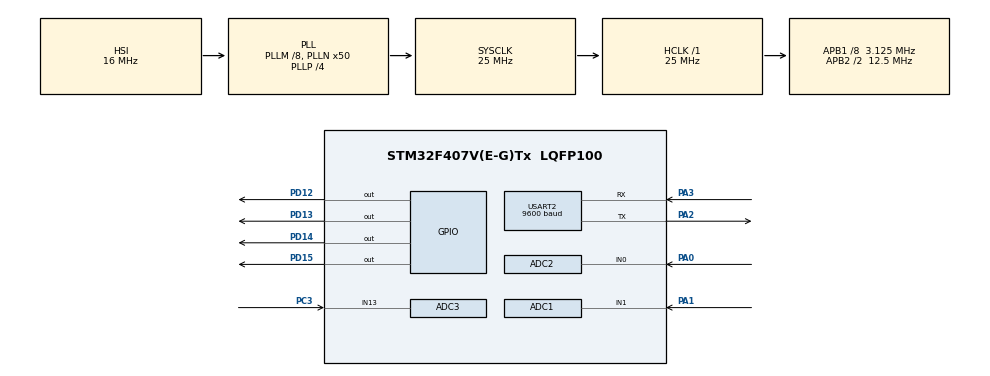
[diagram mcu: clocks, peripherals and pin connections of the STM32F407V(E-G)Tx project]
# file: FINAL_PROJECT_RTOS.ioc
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ADC1.Channel-0\#ChannelRegularConversion=ADC_CHANNEL_1
ADC1.NbrOfConversionFlag=1
ADC1.Rank-0\#ChannelRegularConversion=1
ADC1.SamplingTime-0\#ChannelRegularConversion=ADC_SAMPLETIME_3CYCLES
ADC1.master=1
ADC2.Channel-0\#ChannelRegularConversion=ADC_CHANNEL_0
ADC2.NbrOfConversionFlag=1
ADC2.Rank-0\#ChannelRegularConversion=1
ADC2.SamplingTime-0\#ChannelRegularConversion=ADC_SAMPLETIME_3CYCLES
ADC3.Channel-0\#ChannelRegularConversion=ADC_CHANNEL_13
ADC3.NbrOfConversionFlag=1
ADC3.Rank-0\#ChannelRegularConversion=1
ADC3.SamplingTime-0\#ChannelRegularConversion=ADC_SAMPLETIME_3CYCLES
FREERTOS.INCLUDE_vTaskDelayUntil=1
FREERTOS.Tasks01=defaultTask,-3,128,StartDefaultTask,Default,NULL,Dynamic,NULL,NULL
FREERTOS.configUSE_NEWLIB_REENTRANT=1
Mcu.Family=STM32F4
Mcu.Name=STM32F407V(E-G)Tx
Mcu.Package=LQFP100
NVIC.PriorityGroup=NVIC_PRIORITYGROUP_4
NVIC.TIM1_UP_TIM10_IRQn=true\:0\:0\:false\:false\:true\:false\:false\:true\:true
NVIC.TimeBase=TIM1_UP_TIM10_IRQn
NVIC.TimeBaseIP=TIM1
PA0-WKUP.Signal=ADCx_IN0
PA1.Signal=ADCx_IN1
PA2.Mode=Asynchronous
PA2.Signal=USART2_TX
PA3.Mode=Asynchronous
PA3.Signal=USART2_RX
PC3.Signal=ADCx_IN13
PD12.Signal=GPIO_Output
PD13.Signal=GPIO_Output
PD14.Signal=GPIO_Output
PD15.Signal=GPIO_Output
ProjectManager.HeapSize=0x200
ProjectManager.StackSize=0x400
ProjectManager.TargetToolchain=STM32CubeIDE
RCC.48MHZClocksFreq_Value=14285714.285714285
RCC.AHBFreq_Value=25000000
RCC.APB1CLKDivider=RCC_HCLK_DIV8
RCC.APB1Freq_Value=3125000
RCC.APB1TimFreq_Value=6250000
RCC.APB2CLKDivider=RCC_HCLK_DIV2
RCC.APB2Freq_Value=12500000
RCC.APB2TimFreq_Value=25000000
RCC.CortexFreq_Value=25000000
RCC.HCLKFreq_Value=25000000
RCC.HSE_VALUE=8000000
RCC.HSI_VALUE=16000000
RCC.LSE_VALUE=32768
RCC.PLLM=8
RCC.PLLN=50
RCC.PLLP=RCC_PLLP_DIV4
RCC.PLLQ=7
RCC.SYSCLKFreq_VALUE=25000000
RCC.SYSCLKSource=RCC_SYSCLKSOURCE_PLLCLK
RCC.VCOOutputFreq_Value=100000000
SH.ADCx_IN0.0=ADC2_IN0,IN0
SH.ADCx_IN1.0=ADC1_IN1,IN1
SH.ADCx_IN13.0=ADC3_IN13,IN13
USART2.BaudRate=9600
USART2.VirtualMode=VM_ASYNC
VP_FREERTOS_VS_CMSIS_V1.Mode=CMSIS_V1
VP_SYS_VS_tim1.Mode=TIM1
board=STM32F407G-DISC1

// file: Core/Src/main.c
/* USER CODE BEGIN Header */
/**
  ******************************************************************************
  * @file           : main.c
  * @brief          : Main program body
  ******************************************************************************
  * @attention
  *
  * Copyright (c) 2025 STMicroelectronics.
  * All rights reserved.
  *
  * This software is licensed under terms that can be found in the LICENSE file
  * in the root directory of this software component.
  * If no LICENSE file comes with this software, it is provided AS-IS.
  *
  ******************************************************************************
  */
/* USER CODE END Header */
#include "main.h"
#include "cmsis_os.h"

/* USER CODE BEGIN Includes */
#include <string.h>
#include <stdio.h>
#include <stdlib.h>
#include <math.h>
/* USER CODE END Includes */

/* USER CODE BEGIN PTD */

#define VREF        3.3f        //LDR AND TEMP
#define ADC_RES     4095.0f     // 12-bit ADC resolution
#define R_FIXED     10000.0f
#define A_LDR 44550.0f          // LDR constant A
#define B_LDR 0.676f            // LDR constant B
#define VCC 5.0f                //GAS
#define A_GAS 272.4f            // MQ-135 curve constant for CO2
#define B_GAS -2.718f           // MQ-135 curve exponent for CO2
/* USER CODE END PTD */

ADC_HandleTypeDef hadc1;
ADC_HandleTypeDef hadc2;
ADC_HandleTypeDef hadc3;

UART_HandleTypeDef huart2;

osThreadId defaultTaskHandle;
/* USER CODE BEGIN PV */
xQueueHandle xQueue;
xSemaphoreHandle xSemaphore;

typedef struct {
    char name[10];
    float value;
} SensorData_t;

/* USER CODE END PV */

void SystemClock_Config(void);
static void MX_GPIO_Init(void);
static void MX_USART2_UART_Init(void);
static void MX_ADC1_Init(void);
static void MX_ADC2_Init(void);
static void MX_ADC3_Init(void);
void StartDefaultTask(void const * argument);

/* USER CODE BEGIN PFP */

void vSendingtemp(void *pvParam)
{
    portTickType xLastWakeUpTime = xTaskGetTickCount();
    SensorData_t data;
    strcpy(data.name,"LM-35");
    while(1){
        HAL_ADC_Start(&hadc1);
        if (HAL_ADC_PollForConversion(&hadc1, 10) == HAL_OK) {

            data.value = HAL_ADC_GetValue(&hadc1);
           float voltage = (VREF * data.value) / ADC_RES;

           data.value = voltage * 100.0f;//temp in celsius
            HAL_ADC_Stop(&hadc1);

            xQueueSendToBack(xQueue, &data, pdMS_TO_TICKS(100));
            HAL_GPIO_WritePin(GPIOD, GPIO_PIN_13, GPIO_PIN_SET);
            vTaskDelay(pdMS_TO_TICKS(100));
            HAL_GPIO_WritePin(GPIOD, GPIO_PIN_13, GPIO_PIN_RESET);

        }

        vTaskDelayUntil(&xLastWakeUpTime, pdMS_TO_TICKS(4000));
    }
}

void vSendinglight(void *pvParam)
{
    portTickType xLastWakeUpTime = xTaskGetTickCount();
    SensorData_t data;
    strcpy(data.name,"LDR");

    while(1){
        HAL_ADC_Start(&hadc2);
        if (HAL_ADC_PollForConversion(&hadc2, 10) == HAL_OK) {
             data.value = (float)HAL_ADC_GetValue(&hadc2);

             float voltage = (VREF * data.value) / ADC_RES;
             if (voltage == 0) voltage = 0.001f;
             float r_ldr = R_FIXED * (VREF - voltage) / voltage;

             data.value = pow((A_LDR / r_ldr), (1.0f / B_LDR));//lux
            HAL_ADC_Stop(&hadc2);

            xQueueSendToBack(xQueue, &data, pdMS_TO_TICKS(100));

           		            HAL_GPIO_WritePin(GPIOD, GPIO_PIN_14, GPIO_PIN_SET);
           		            vTaskDelay(pdMS_TO_TICKS(100));
           		            HAL_GPIO_WritePin(GPIOD, GPIO_PIN_14, GPIO_PIN_RESET);

        }

        vTaskDelayUntil(&xLastWakeUpTime, pdMS_TO_TICKS(4000));
    }
}

void vSendinggas(void *pvParam)
{
    portTickType xLastWakeUpTime = xTaskGetTickCount();
    SensorData_t data;
    strcpy(data.name,"MQ-132");
    float R0;
    HAL_ADC_Start(&hadc3);
            if (HAL_ADC_PollForConversion(&hadc3, 10) == HAL_OK) {
                data.value = (float)HAL_ADC_GetValue(&hadc3);

                float Vout = (data.value / 4095.0f) * VCC;
                if (Vout <= 0.0f) Vout = 0.001f;
                float Rs = R_FIXED * (VCC - Vout) / Vout;
                R0=Rs/3.7f;
                HAL_ADC_Stop(&hadc3);
            }

    while(1){
        HAL_ADC_Start(&hadc3);
        if (HAL_ADC_PollForConversion(&hadc3, 10) == HAL_OK) {
            data.value = (float)HAL_ADC_GetValue(&hadc3);
            float Vout = (data.value / 4095.0f) * VCC;
            if (Vout <= 0.0f) Vout = 0.001f;

             float Rs = R_FIXED * (VCC - Vout) / Vout;
             float ratio = Rs / R0;

              data.value = A_GAS * pow(ratio, B_GAS);

            HAL_ADC_Stop(&hadc3);

                       xQueueSendToBack(xQueue, &data, pdMS_TO_TICKS(100));

           		            HAL_GPIO_WritePin(GPIOD, GPIO_PIN_15, GPIO_PIN_SET);
           		            vTaskDelay(pdMS_TO_TICKS(100));
           		            HAL_GPIO_WritePin(GPIOD, GPIO_PIN_15, GPIO_PIN_RESET);

        }

        vTaskDelayUntil(&xLastWakeUpTime, pdMS_TO_TICKS(4000));
    }
}

void vuartsend(void *pvParam)
{
    SensorData_t data;

    while(1) {
        if (xQueueReceive(xQueue, &data, portMAX_DELAY) == pdPASS) {

            if (xSemaphoreTake(xSemaphore, pdMS_TO_TICKS(100)) == pdTRUE) {
                char buffer[64];
                int len = snprintf(buffer, sizeof(buffer), "%s: %.2f\r\n", data.name, data.value);

                if (len > 0) {
                    HAL_UART_Transmit(&huart2, (uint8_t *)buffer, len, 100);
                }

                xSemaphoreGive(xSemaphore);
            }
        }
    }
}

/* USER CODE END PFP */

int main(void)
{

  /* MCU Configuration--------------------------------------------------------*/

  /* Reset of all peripherals, Initializes the Flash interface and the Systick. */
  HAL_Init();

  /* Configure the system clock */
  SystemClock_Config();

  /* Initialize all configured peripherals */
  MX_GPIO_Init();
  MX_USART2_UART_Init();
  MX_ADC1_Init();
  MX_ADC2_Init();
  MX_ADC3_Init();

  /* USER CODE BEGIN RTOS_SEMAPHORES */
  /* add semaphores, ... */
  vSemaphoreCreateBinary(xSemaphore);

  /* USER CODE END RTOS_SEMAPHORES */

  /* USER CODE BEGIN RTOS_QUEUES */
  /* add queues, ... */
  xQueue = xQueueCreate(10, sizeof(SensorData_t));

  /* USER CODE END RTOS_QUEUES */

  /* Create the thread(s) */
  /* definition and creation of defaultTask */
  osThreadDef(defaultTask, StartDefaultTask, osPriorityIdle, 0, 128);
  defaultTaskHandle = osThreadCreate(osThread(defaultTask), NULL);

  /* USER CODE BEGIN RTOS_THREADS */
  /* add threads, ... */

  xTaskCreate(vSendingtemp, "send1", 256, NULL, 3, NULL);
  xTaskCreate(vSendinglight, "send2", 256, NULL, 3, NULL);
  xTaskCreate(vSendinggas, "send3", 256, NULL, 3, NULL);
  xTaskCreate(vuartsend, "espsend",256, NULL,4 , NULL);

  /* USER CODE END RTOS_THREADS */

  /* Start scheduler */
  osKernelStart();

  /* We should never get here as control is now taken by the scheduler */

  /* Infinite loop */
  while (1)
  {

  }
}

void SystemClock_Config(void)
{
  RCC_OscInitTypeDef RCC_OscInitStruct = {0};
  RCC_ClkInitTypeDef RCC_ClkInitStruct = {0};

  /** Configure the main internal regulator output voltage
  */
  __HAL_RCC_PWR_CLK_ENABLE();
  __HAL_PWR_VOLTAGESCALING_CONFIG(PWR_REGULATOR_VOLTAGE_SCALE1);

  /** Initializes the RCC Oscillators according to the specified parameters
  * in the RCC_OscInitTypeDef structure.
  */
  RCC_OscInitStruct.OscillatorType = RCC_OSCILLATORTYPE_HSI;
  RCC_OscInitStruct.HSIState = RCC_HSI_ON;
  RCC_OscInitStruct.HSICalibrationValue = RCC_HSICALIBRATION_DEFAULT;
  RCC_OscInitStruct.PLL.PLLState = RCC_PLL_ON;
  RCC_OscInitStruct.PLL.PLLSource = RCC_PLLSOURCE_HSI;
  RCC_OscInitStruct.PLL.PLLM = 8;
  RCC_OscInitStruct.PLL.PLLN = 50;
  RCC_OscInitStruct.PLL.PLLP = RCC_PLLP_DIV4;
  RCC_OscInitStruct.PLL.PLLQ = 7;
  if (HAL_RCC_OscConfig(&RCC_OscInitStruct) != HAL_OK)
  {
    Error_Handler();
  }

  /** Initializes the CPU, AHB and APB buses clocks
  */
  RCC_ClkInitStruct.ClockType = RCC_CLOCKTYPE_HCLK|RCC_CLOCKTYPE_SYSCLK
                              |RCC_CLOCKTYPE_PCLK1|RCC_CLOCKTYPE_PCLK2;
  RCC_ClkInitStruct.SYSCLKSource = RCC_SYSCLKSOURCE_PLLCLK;
  RCC_ClkInitStruct.AHBCLKDivider = RCC_SYSCLK_DIV1;
  RCC_ClkInitStruct.APB1CLKDivider = RCC_HCLK_DIV8;
  RCC_ClkInitStruct.APB2CLKDivider = RCC_HCLK_DIV2;

  if (HAL_RCC_ClockConfig(&RCC_ClkInitStruct, FLASH_LATENCY_0) != HAL_OK)
  {
    Error_Handler();
  }
}

static void MX_ADC1_Init(void)
{

  ADC_ChannelConfTypeDef sConfig = {0};

  /** Configure the global features of the ADC (Clock, Resolution, Data Alignment and number of conversion)
  */
  hadc1.Instance = ADC1;
  hadc1.Init.ClockPrescaler = ADC_CLOCK_SYNC_PCLK_DIV2;
  hadc1.Init.Resolution = ADC_RESOLUTION_12B;
  hadc1.Init.ScanConvMode = DISABLE;
  hadc1.Init.ContinuousConvMode = DISABLE;
  hadc1.Init.DiscontinuousConvMode = DISABLE;
  hadc1.Init.ExternalTrigConvEdge = ADC_EXTERNALTRIGCONVEDGE_NONE;
  hadc1.Init.ExternalTrigConv = ADC_SOFTWARE_START;
  hadc1.Init.DataAlign = ADC_DATAALIGN_RIGHT;
  hadc1.Init.NbrOfConversion = 1;
  hadc1.Init.DMAContinuousRequests = DISABLE;
  hadc1.Init.EOCSelection = ADC_EOC_SINGLE_CONV;
  if (HAL_ADC_Init(&hadc1) != HAL_OK)
  {
    Error_Handler();
  }

  /** Configure for the selected ADC regular channel its corresponding rank in the sequencer and its sample time.
  */
  sConfig.Channel = ADC_CHANNEL_1;
  sConfig.Rank = 1;
  sConfig.SamplingTime = ADC_SAMPLETIME_3CYCLES;
  if (HAL_ADC_ConfigChannel(&hadc1, &sConfig) != HAL_OK)
  {
    Error_Handler();
  }

}

static void MX_ADC2_Init(void)
{

  ADC_ChannelConfTypeDef sConfig = {0};

  /** Configure the global features of the ADC (Clock, Resolution, Data Alignment and number of conversion)
  */
  hadc2.Instance = ADC2;
  hadc2.Init.ClockPrescaler = ADC_CLOCK_SYNC_PCLK_DIV2;
  hadc2.Init.Resolution = ADC_RESOLUTION_12B;
  hadc2.Init.ScanConvMode = DISABLE;
  hadc2.Init.ContinuousConvMode = DISABLE;
  hadc2.Init.DiscontinuousConvMode = DISABLE;
  hadc2.Init.ExternalTrigConvEdge = ADC_EXTERNALTRIGCONVEDGE_NONE;
  hadc2.Init.ExternalTrigConv = ADC_SOFTWARE_START;
  hadc2.Init.DataAlign = ADC_DATAALIGN_RIGHT;
  hadc2.Init.NbrOfConversion = 1;
  hadc2.Init.DMAContinuousRequests = DISABLE;
  hadc2.Init.EOCSelection = ADC_EOC_SINGLE_CONV;
  if (HAL_ADC_Init(&hadc2) != HAL_OK)
  {
    Error_Handler();
  }

  /** Configure for the selected ADC regular channel its corresponding rank in the sequencer and its sample time.
  */
  sConfig.Channel = ADC_CHANNEL_0;
  sConfig.Rank = 1;
  sConfig.SamplingTime = ADC_SAMPLETIME_3CYCLES;
  if (HAL_ADC_ConfigChannel(&hadc2, &sConfig) != HAL_OK)
  {
    Error_Handler();
  }

}

static void MX_ADC3_Init(void)
{

  ADC_ChannelConfTypeDef sConfig = {0};

  /** Configure the global features of the ADC (Clock, Resolution, Data Alignment and number of conversion)
  */
  hadc3.Instance = ADC3;
  hadc3.Init.ClockPrescaler = ADC_CLOCK_SYNC_PCLK_DIV2;
  hadc3.Init.Resolution = ADC_RESOLUTION_12B;
  hadc3.Init.ScanConvMode = DISABLE;
  hadc3.Init.ContinuousConvMode = DISABLE;
  hadc3.Init.DiscontinuousConvMode = DISABLE;
  hadc3.Init.ExternalTrigConvEdge = ADC_EXTERNALTRIGCONVEDGE_NONE;
  hadc3.Init.ExternalTrigConv = ADC_SOFTWARE_START;
  hadc3.Init.DataAlign = ADC_DATAALIGN_RIGHT;
  hadc3.Init.NbrOfConversion = 1;
  hadc3.Init.DMAContinuousRequests = DISABLE;
  hadc3.Init.EOCSelection = ADC_EOC_SINGLE_CONV;
  if (HAL_ADC_Init(&hadc3) != HAL_OK)
  {
    Error_Handler();
  }

  /** Configure for the selected ADC regular channel its corresponding rank in the sequencer and its sample time.
  */
  sConfig.Channel = ADC_CHANNEL_13;
  sConfig.Rank = 1;
  sConfig.SamplingTime = ADC_SAMPLETIME_3CYCLES;
  if (HAL_ADC_ConfigChannel(&hadc3, &sConfig) != HAL_OK)
  {
    Error_Handler();
  }

}

static void MX_USART2_UART_Init(void)
{

  huart2.Instance = USART2;
  huart2.Init.BaudRate = 9600;
  huart2.Init.WordLength = UART_WORDLENGTH_8B;
  huart2.Init.StopBits = UART_STOPBITS_1;
  huart2.Init.Parity = UART_PARITY_NONE;
  huart2.Init.Mode = UART_MODE_TX_RX;
  huart2.Init.HwFlowCtl = UART_HWCONTROL_NONE;
  huart2.Init.OverSampling = UART_OVERSAMPLING_16;
  if (HAL_UART_Init(&huart2) != HAL_OK)
  {
    Error_Handler();
  }

}

static void MX_GPIO_Init(void)
{
  GPIO_InitTypeDef GPIO_InitStruct = {0};

  /* GPIO Ports Clock Enable */
  __HAL_RCC_GPIOC_CLK_ENABLE();
  __HAL_RCC_GPIOA_CLK_ENABLE();
  __HAL_RCC_GPIOD_CLK_ENABLE();

  /*Configure GPIO pin Output Level */
  HAL_GPIO_WritePin(GPIOD, GPIO_PIN_12|GPIO_PIN_13|GPIO_PIN_14|GPIO_PIN_15, GPIO_PIN_RESET);

  /*Configure GPIO pins : PD12 PD13 PD14 PD15 */
  GPIO_InitStruct.Pin = GPIO_PIN_12|GPIO_PIN_13|GPIO_PIN_14|GPIO_PIN_15;
  GPIO_InitStruct.Mode = GPIO_MODE_OUTPUT_PP;
  GPIO_InitStruct.Pull = GPIO_NOPULL;
  GPIO_InitStruct.Speed = GPIO_SPEED_FREQ_LOW;
  HAL_GPIO_Init(GPIOD, &GPIO_InitStruct);

}

void StartDefaultTask(void const * argument)
{
  for(;;)
  {
    osDelay(1);
  }
}

void HAL_TIM_PeriodElapsedCallback(TIM_HandleTypeDef *htim)
{
  if (htim->Instance == TIM1)
  {
    HAL_IncTick();
  }
}

void Error_Handler(void)
{
  __disable_irq();
  while (1)
  {
  }
}
